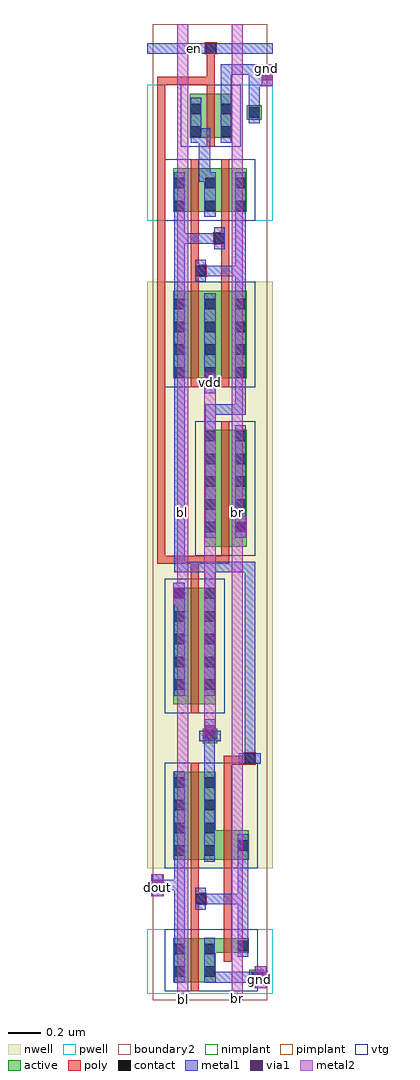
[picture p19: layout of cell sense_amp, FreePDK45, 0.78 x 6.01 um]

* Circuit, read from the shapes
.subckt sense_amp bl br dout en gnd vdd
M1 gnd n1 dout gnd nfet w=0.27u l=0.05u
M2 n2 n3 n4 gnd nfet w=0.27u l=0.05u
M3 gnd en n2 gnd nfet w=0.27u l=0.05u
M4 n3 n4 n2 gnd nfet w=0.27u l=0.05u
M5 n1 n4 gnd gnd nfet w=0.09u l=0.05u
M6 vdd n1 dout vdd pfet w=0.54u l=0.05u
M7 n4 en bl vdd pfet w=0.72u l=0.05u
M8 vdd n3 n4 vdd pfet w=0.54u l=0.05u
M9 br en n3 vdd pfet w=0.72u l=0.05u
M10 n3 n4 vdd vdd pfet w=0.54u l=0.05u
M11 n1 n4 vdd vdd pfet w=0.18u l=0.05u
.ends

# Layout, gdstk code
import gdstk
lib = gdstk.Library(unit=1e-6, precision=5e-10)
def R(c, l, rs):  # rectangles x0, y0, x1, y1
    for r in rs: c.add(gdstk.rectangle(r[:2], r[2:], *l))
def A(c, l, x, y, w, h, nx, ny, dx, dy):  # array of equal rectangles
    R(c, l, [(x+i*dx, y+j*dy, x+i*dx+w, y+j*dy+h) for i in range(nx) for j in range(ny)])
def P(c, l, *ps):  # polygons
    for p in ps: c.add(gdstk.Polygon(p, *l))
active = (1, 0)
pwell = (2, 0)
nwell = (3, 0)
nimplant = (4, 0)
pimplant = (5, 0)
vtg = (6, 0)
poly = (9, 0)
contact = (10, 0)
metal1 = (11, 0)
via1 = (12, 0)
metal2 = (13, 0)
boundary2 = (239, 0)

sense_amp = lib.new_cell('sense_amp')
R(sense_amp, active, [(0.595,0.095,0.685,0.185), (0.3075,1.58,0.3975,1.67), (0.1275,1.82,0.3875,2.54), (0.1275,1.82,0.2025,2.54), (0.1275,1.82,0.2025,2.54), (0.3125,1.82,0.3875,2.54), (0.3125,1.82,0.3875,2.54), (0.1275,1.905,0.2025,2.54), (0.3125,1.905,0.3875,2.54), (0.3175,2.79,0.5775,3.51), (0.3175,2.79,0.3925,3.51), (0.3175,2.79,0.3925,3.51), (0.5025,2.79,0.5775,3.51), (0.5025,2.79,0.5775,3.51), (0.3175,2.875,0.3925,3.51), (0.5025,2.875,0.5775,3.51), (0.1275,3.8275,0.2025,4.3225), (0.1275,3.8275,0.3875,4.3675), (0.1275,3.8275,0.2025,4.3675), (0.1275,3.8275,0.2025,4.3675), (0.3125,3.8275,0.3875,4.3225), (0.3125,3.8275,0.3875,4.3675), (0.3125,3.8275,0.3875,4.3675), (0.3175,3.8275,0.3925,4.3225), (0.3175,3.8275,0.5775,4.3675), (0.3175,3.8275,0.3925,4.3675), (0.3175,3.8275,0.3925,4.3675), (0.5025,3.8275,0.5775,4.3225), (0.5025,3.8275,0.5775,4.3675), (0.5025,3.8275,0.5775,4.3675), (0.1275,4.8525,0.2025,5.0675), (0.1275,4.8525,0.3875,5.1225), (0.1275,4.8525,0.2025,5.1225), (0.1275,4.8525,0.2025,5.1225), (0.3125,4.8525,0.3875,5.0675), (0.3125,4.8525,0.3875,5.1225), (0.3125,4.8525,0.3875,5.1225), (0.3175,4.8525,0.3925,5.0675), (0.3175,4.8525,0.5775,5.1225), (0.3175,4.8525,0.3925,5.1225), (0.3175,4.8525,0.3925,5.1225), (0.5025,4.8525,0.5775,5.0675), (0.5025,4.8525,0.5775,5.1225), (0.5025,4.8525,0.5775,5.1225), (0.2275,5.31,0.3025,5.525), (0.2275,5.31,0.4875,5.58), (0.2275,5.31,0.3025,5.58), (0.2275,5.31,0.3025,5.58), (0.4125,5.31,0.4875,5.525), (0.4125,5.31,0.4875,5.58), (0.4125,5.31,0.4875,5.58), (0.58,5.42,0.67,5.51)])
P(sense_amp, active, [(0.1275,0.11),(0.1275,0.38),(0.5925,0.38),(0.5925,0.29),(0.3875,0.29),(0.3875,0.11)],
  [(0.1275,0.865),(0.1275,1.405),(0.3875,1.405),(0.3875,1.045),(0.5925,1.045),(0.5925,0.865)])
R(sense_amp, pwell, [(-0.035,0.055,0.74,0.435), (-0.035,4.7975,0.74,5.635), (0.0725,4.7975,0.4425,5.1775), (0.2625,4.7975,0.6325,5.1775), (0.1725,5.255,0.5425,5.635), (0.525,5.365,0.725,5.565)])
P(sense_amp, pwell, [(-0.035,0.04),(-0.035,0.055),(0.595,0.055),(0.595,0.095),(0.685,0.095),(0.685,0.055),(0.74,0.055),(0.74,0.04)])
R(sense_amp, nwell, [(-0.035,0.81,0.74,4.4225), (0.0725,1.765,0.4425,2.595), (0.2625,2.735,0.6325,3.565), (0.0725,3.7725,0.4425,4.4225), (0.2625,3.7725,0.6325,4.4225)])
R(sense_amp, nimplant, [(0.3075,1.58,0.3975,1.67), (0.1275,4.8525,0.3875,5.1225), (0.3175,4.8525,0.5775,5.1225), (0.2275,5.31,0.4875,5.58)])
P(sense_amp, nimplant, [(0.1275,0.11),(0.1275,0.38),(0.5925,0.38),(0.5925,0.29),(0.3875,0.29),(0.3875,0.11)])
R(sense_amp, pimplant, [(0.595,0.095,0.685,0.185), (0.1275,1.82,0.3875,2.54), (0.3175,2.79,0.5775,3.51), (0.1275,3.8275,0.3875,4.3675), (0.3175,3.8275,0.5775,4.3675), (0.58,5.42,0.67,5.51)])
P(sense_amp, pimplant, [(0.1275,0.865),(0.1275,1.405),(0.3875,1.405),(0.3875,1.045),(0.5925,1.045),(0.5925,0.865)])
R(sense_amp, vtg, [(0.0725,0.055,0.6475,0.435), (0.0725,0.81,0.645,1.46), (0.0725,1.765,0.4425,2.595), (0.2625,2.735,0.6325,3.565), (0.0725,3.7725,0.4425,4.4225), (0.2625,3.7725,0.6325,4.4225), (0.0725,4.7975,0.4425,5.1775), (0.2625,4.7975,0.6325,5.1775), (0.1725,5.255,0.5425,5.635)])
R(sense_amp, poly, [(0.2325,0.055,0.2825,1.46), (0.2575,0.585,0.3325,0.66), (0.2325,1.765,0.2825,1.82), (0.2325,1.765,0.2825,2.595), (0.2325,2.54,0.2825,2.595), (0.2325,2.595,0.2825,2.685), (0.0275,2.685,0.4725,2.735), (0.0275,2.735,0.0775,5.635), (0.4225,2.735,0.4725,2.79), (0.4225,2.735,0.4725,3.565), (0.4225,3.51,0.4725,3.565), (0.2325,3.7725,0.2825,3.8275), (0.2325,3.7725,0.2825,4.4225), (0.4225,3.7725,0.4725,3.8275), (0.4225,3.7725,0.4725,4.4225), (0.2325,4.04,0.2825,4.7975), (0.4225,4.04,0.4725,4.7975), (0.2325,4.3675,0.2825,4.4225), (0.4225,4.3675,0.4725,4.4225), (0.2575,4.4525,0.3325,4.5275), (0.3725,4.6525,0.4475,4.7275), (0.2325,4.7975,0.2825,4.8525), (0.2325,4.7975,0.2825,5.1775), (0.4225,4.7975,0.4725,4.8525), (0.4225,4.7975,0.4725,5.1775), (0.2325,5.1225,0.2825,5.1775), (0.4225,5.1225,0.4725,5.1775), (0.3325,5.255,0.3825,5.31), (0.3325,5.255,0.3825,5.635), (0.3325,5.58,0.3825,5.635), (0.0275,5.635,0.3825,5.685), (0.3325,5.685,0.3825,5.89), (0.32,5.8225,0.395,5.8975)])
P(sense_amp, poly, [(0.4375,0.235),(0.4375,1.505),(0.56,1.505),(0.56,1.525),(0.635,1.525),(0.635,1.45),(0.4875,1.45),(0.4875,0.235)])
A(sense_amp, contact, 0.1325, 0.8875, 0.065, 0.065, 1, 4, 0, 0.14)
A(sense_amp, contact, 0.3175, 0.8875, 0.065, 0.065, 1, 4, 0, 0.14)
A(sense_amp, contact, 0.1325, 1.91, 0.065, 0.065, 1, 5, 0, 0.14)
A(sense_amp, contact, 0.3175, 1.91, 0.065, 0.065, 1, 5, 0, 0.14)
A(sense_amp, contact, 0.3225, 2.88, 0.065, 0.065, 1, 5, 0, 0.14)
A(sense_amp, contact, 0.5075, 2.88, 0.065, 0.065, 1, 5, 0, 0.14)
A(sense_amp, contact, 0.1325, 3.8325, 0.065, 0.065, 1, 4, 0, 0.14)
A(sense_amp, contact, 0.3225, 3.8325, 0.065, 0.065, 1, 4, 0, 0.14)
A(sense_amp, contact, 0.5075, 3.8325, 0.065, 0.065, 1, 4, 0, 0.14)
R(sense_amp, contact, [(0.61,0.1075,0.675,0.1725), (0.1325,0.1425,0.1975,0.2075), (0.3175,0.1425,0.3825,0.2075), (0.1325,0.2825,0.1975,0.3475), (0.3175,0.2825,0.3825,0.3475), (0.5225,0.3,0.5875,0.365), (0.2625,0.59,0.3275,0.655), (0.5225,0.92,0.5875,0.985), (0.565,1.455,0.63,1.52), (0.32,1.5925,0.385,1.6575), (0.2625,4.4575,0.3275,4.5225), (0.3775,4.6575,0.4425,4.7225), (0.1325,4.8575,0.1975,4.9225), (0.3225,4.8575,0.3875,4.9225), (0.5075,4.8575,0.5725,4.9225), (0.1325,4.9975,0.1975,5.0625), (0.3225,4.9975,0.3875,5.0625), (0.5075,4.9975,0.5725,5.0625), (0.2325,5.315,0.2975,5.38), (0.4175,5.315,0.4825,5.38), (0.5925,5.4325,0.6575,5.4975), (0.2325,5.455,0.2975,5.52), (0.4175,5.455,0.4825,5.52), (0.325,5.8275,0.39,5.8925)])
R(sense_amp, metal1, [(0.1325,0.1075,0.1975,1.4075), (0.3175,0.1075,0.3825,0.3825), (0.3825,0.1075,0.5675,0.1725), (0.5225,0.265,0.5875,0.3), (0.2625,0.555,0.3275,0.69), (-0.0025,0.64,0.0625,0.775), (-0.0075,0.67,0.0675,0.745), (0.0675,0.675,0.1325,0.74), (0.3175,0.8525,0.3825,0.8875), (0.3175,0.8875,0.3825,1.6575), (0.5225,0.985,0.5875,1.02), (0.53,1.455,0.665,1.52), (0.565,1.455,0.63,2.7), (0.285,1.5925,0.42,1.6575), (0.32,1.5925,0.385,1.7275), (0.1325,1.875,0.1975,2.57), (0.3175,1.875,0.3825,2.57), (0.1275,2.435,0.1925,2.57), (0.32,2.5025,0.385,2.7), (0.1325,2.635,0.63,2.7), (0.1325,2.7,0.1975,3.7975), (0.3225,2.845,0.3875,3.54), (0.5075,2.845,0.5725,3.54), (0.51,2.845,0.575,2.98), (0.3225,3.475,0.3875,3.67), (0.3225,3.605,0.5725,3.67), (0.5075,3.605,0.5725,3.8), (0.32,3.735,0.385,3.87), (0.1325,3.7975,0.1975,4.3525), (0.3175,3.7975,0.3825,4.3525), (0.3225,3.7975,0.3875,4.3525), (0.5075,3.7975,0.5725,4.3525), (0.1325,3.96,0.1975,4.8275), (0.5075,3.96,0.5725,4.8225), (0.2625,4.4225,0.3275,4.5575), (0.2825,4.4575,0.5725,4.5225), (0.3775,4.6225,0.4425,4.7575), (0.1325,4.6575,0.4225,4.7225), (0.1325,4.8225,0.1975,5.0975), (0.3175,4.8225,0.3825,5.0975), (0.3225,4.8225,0.3875,5.0975), (0.5075,4.8225,0.5725,5.0975), (0.2825,5.04,0.3525,5.3675), (0.2325,5.28,0.2975,5.555), (0.4175,5.28,0.4825,5.555), (0.5925,5.3975,0.6575,5.5325), (0.5925,5.5325,0.6575,5.7625), (0.4175,5.545,0.4825,5.6975), (0.6575,5.6275,0.6725,5.6975), (0.6725,5.6275,0.7375,5.7625), (0.4175,5.6975,0.74,5.7625), (-0.035,5.8275,0.74,5.8925), (-0.035,5.8275,0.74,5.8925), (0.23,5.8275,0.295,5.8925), (0.29,5.8275,0.425,5.8925)])
P(sense_amp, metal1, [(0.5225,0.3),(0.5225,0.59),(0.2625,0.59),(0.2625,0.655),(0.5225,0.655),(0.5225,0.985),(0.5875,0.985),(0.5875,0.3)],
  [(0.6325,0.0725),(0.6325,0.1075),(0.5675,0.1075),(0.5675,0.1725),(0.6325,0.1725),(0.6325,0.2075),(0.6975,0.2075),(0.6975,0.1725),(0.71,0.1725),(0.71,0.1075),(0.6975,0.1075),(0.6975,0.0725)],
  [(0,1.4525),(0,1.4525),(0,1.4525),(0,1.4525)])
R(sense_amp, via1, [(0.6325,0.1075,0.6975,0.1725), (-0.0025,0.675,0.0625,0.74), (0.32,1.6275,0.385,1.6925), (0.1275,2.47,0.1925,2.535), (0.51,2.88,0.575,2.945), (0.32,3.77,0.385,3.835), (0.6725,5.6625,0.7375,5.7275)])
R(sense_amp, metal2, [(0.15,0,0.22,6.01), (0.15,0,0.22,6.01), (0.485,0,0.555,6.01), (0.485,0,0.555,6.01), (0.6275,0.0725,0.7025,0.2075), (0.6275,0.0725,0.7025,0.2075), (0.6275,0.1025,0.7025,0.1775), (-0.01,0.64,0.0675,0.775), (-0.01,0.64,0.0675,0.775), (-0.0075,0.67,0.0675,0.745), (0.3175,1.5925,0.3875,1.7275), (0.3175,1.725,0.3875,3.735), (0.125,2.435,0.195,2.57), (0.5075,2.845,0.5775,2.98), (0.3175,3.735,0.3875,3.87), (0.3175,3.735,0.3875,3.87), (0.67,5.6275,0.74,5.7625), (0.67,5.6275,0.74,5.7625)])
R(sense_amp, boundary2, [(0,0,0.705,6.01)])
sense_amp.add(gdstk.Label('en', (0.258,5.86), layer=11, texttype=0))
sense_amp.add(gdstk.Label('dout', (0.0285,0.6925), layer=13, texttype=0))
sense_amp.add(gdstk.Label('gnd', (0.6555,0.1235), layer=13, texttype=0))
sense_amp.add(gdstk.Label('bl', (0.19,0.005), layer=13, texttype=0))
sense_amp.add(gdstk.Label('br', (0.52,0.0065), layer=13, texttype=0))
sense_amp.add(gdstk.Label('vdd', (0.3525,3.8), layer=13, texttype=0))
sense_amp.add(gdstk.Label('gnd', (0.7025,5.735), layer=13, texttype=0))
sense_amp.add(gdstk.Label('bl', (0.185,3.005), layer=13, texttype=0))
sense_amp.add(gdstk.Label('br', (0.52,3.005), layer=13, texttype=0))
sense_amp.add(gdstk.Label('dout', (0.029,0.7075), layer=13, texttype=0))
sense_amp.add(gdstk.Label('en', (0.3525,5.86), layer=11, texttype=0))
sense_amp.add(gdstk.Label('vdd', (0.3525,3.8025), layer=13, texttype=0))
sense_amp.add(gdstk.Label('gnd', (0.665,0.14), layer=13, texttype=0))
sense_amp.add(gdstk.Label('gnd', (0.705,5.695), layer=13, texttype=0))

lib.write_gds('sense_amp.gds')
